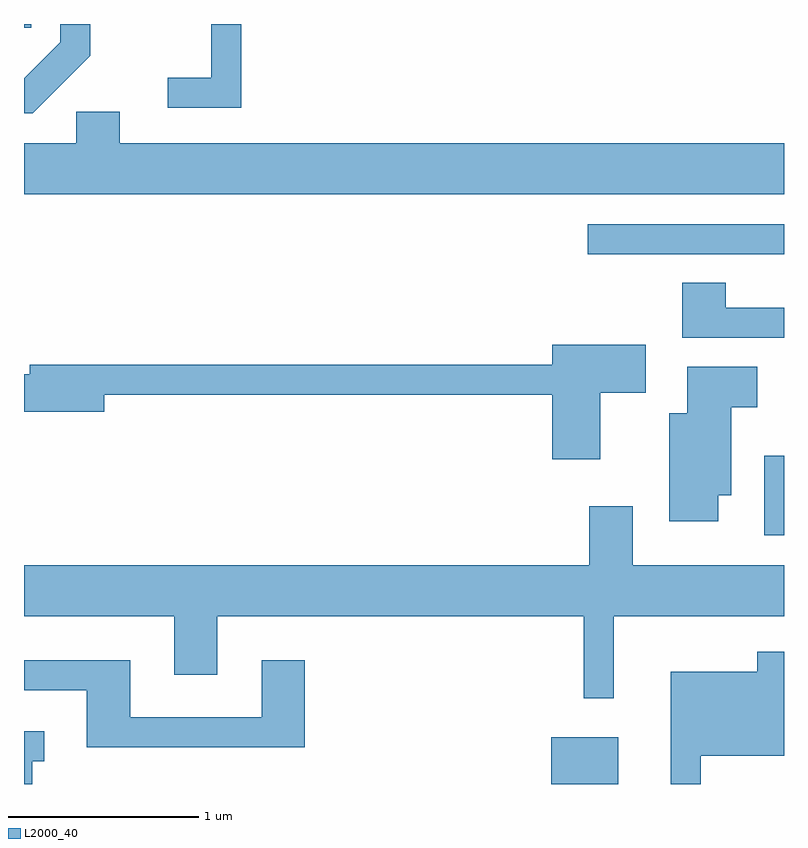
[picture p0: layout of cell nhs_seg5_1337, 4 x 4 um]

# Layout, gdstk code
import gdstk
lib = gdstk.Library(unit=1e-6, precision=1e-09)
def R(c, l, rs):  # rectangles x0, y0, x1, y1
    for r in rs: c.add(gdstk.rectangle(r[:2], r[2:], *l))
def P(c, l, *ps):  # polygons
    for p in ps: c.add(gdstk.Polygon(p, *l))
L2000_40 = (2000, 40)

nhs_seg5_1337 = lib.new_cell('nhs_seg5_1337')
R(nhs_seg5_1337, L2000_40, [(226.386,1518.072,226.739,1518.319), (227.506,1519.381,227.611,1519.799), (226.578,1520.861,227.611,1521.019), (223.611,1522.051,223.649,1522.072)])
P(nhs_seg5_1337, L2000_40, [(224.754,1522.072),(224.596,1522.072),(224.596,1521.789),(224.368,1521.789),(224.368,1521.631),(224.754,1521.631)],
  [(223.959,1521.904),(223.959,1522.072),(223.801,1522.072),(223.801,1521.977),(223.611,1521.786),(223.611,1521.601),(223.657,1521.601)],
  [(227.611,1521.444),(224.114,1521.444),(224.114,1521.609),(223.886,1521.609),(223.886,1521.444),(223.611,1521.444),(223.611,1521.176),(227.611,1521.176)],
  [(227.611,1520.579),(227.304,1520.579),(227.304,1520.709),(227.076,1520.709),(227.076,1520.421),(227.611,1520.421)],
  [(226.644,1520.131),(226.884,1520.131),(226.884,1520.384),(226.391,1520.384),(226.391,1520.279),(223.641,1520.279),(223.641,1520.229),(223.611,1520.229),(223.611,1520.031),(224.034,1520.031),(224.034,1520.121),(226.391,1520.121),(226.391,1519.781),(226.644,1519.781)],
  [(227.264,1519.591),(227.334,1519.591),(227.334,1520.056),(227.469,1520.056),(227.469,1520.269),(227.101,1520.269),(227.101,1520.024),(227.006,1520.024),(227.006,1519.456),(227.264,1519.456)],
  [(226.714,1518.956),(227.611,1518.956),(227.611,1519.224),(226.814,1519.224),(226.814,1519.534),(226.586,1519.534),(226.586,1519.224),(223.611,1519.224),(223.611,1518.956),(224.401,1518.956),(224.401,1518.646),(224.629,1518.646),(224.629,1518.956),(226.556,1518.956),(226.556,1518.523),(226.714,1518.523)],
  [(227.174,1518.221),(227.611,1518.221),(227.611,1518.768),(227.471,1518.768),(227.471,1518.664),(227.016,1518.664),(227.016,1518.072),(227.174,1518.072)],
  [(225.089,1518.724),(224.861,1518.724),(224.861,1518.424),(224.169,1518.424),(224.169,1518.724),(223.611,1518.724),(223.611,1518.566),(223.941,1518.566),(223.941,1518.266),(225.089,1518.266)],
  [(223.654,1518.191),(223.718,1518.191),(223.718,1518.349),(223.611,1518.349),(223.611,1518.072),(223.654,1518.072)])

lib.write_gds('nhs_seg5_1337.gds')
